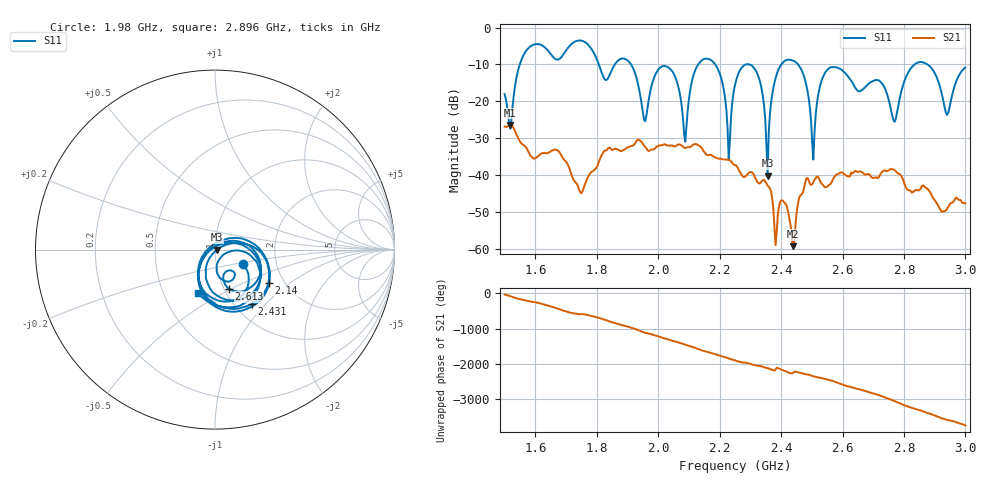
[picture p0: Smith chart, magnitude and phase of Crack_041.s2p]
# HZ S RI R 50
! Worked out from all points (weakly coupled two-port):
!   404 points, 1.5 GHz to 3 GHz, reference 50 ohm
!   highest |S21| = -26.37 dB at 1.519 GHz (marker M1); lowest = -59.2 dB at 2.438 GHz (marker M2)
!   lowest |S11| = -40.1 dB at 2.356 GHz (marker M3), VSWR 1.02, Z = 51 - j0.13 ohm
!   |S11| at or under -10 dB: 1.912 GHz to 2.131 GHz (219 MHz wide, 10.8 % of centre); 2.455 GHz to 2.835 GHz (379.2 MHz wide, 14.3 % of centre); 2.876 GHz to end of sweep (the widest 3 of 7)
!   S12 and S22 are empty: the file has one direction only
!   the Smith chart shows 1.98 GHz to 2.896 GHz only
!   S11 on the Smith chart (normalised r, x): 1.98 GHz: 1.35, -0.22; 2.14 GHz: 1.67, -0.71; 2.431 GHz: 1.19, -0.84; 2.613 GHz: 1.05, -0.48; 2.896 GHz: 0.74, -0.39
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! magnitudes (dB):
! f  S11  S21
! 1.5 GHz  -18.0  -26.8
! 1.519 GHz  -27.3  -26.4
! 1.578 GHz  -5.5  -33.8
! 1.753 GHz  -3.6  -44.4
! 1.954 GHz  -25.1  -32.0
! 1.98 GHz  -15.2  -33.0
! 2.002 GHz  -11.2  -31.9
! 2.088 GHz  -30.9  -32.5
! 2.14 GHz  -9.0  -32.4
! 2.23 GHz  -35.6  -35.9
! 2.252 GHz  -14.9  -37.3
! 2.315 GHz  -11.3  -40.6
! 2.356 GHz  -40.1  -42.8
! 2.431 GHz  -8.7  -53.3
! 2.438 GHz  -8.9  -59.2
! 2.501 GHz  -31.0  -42.4
! 2.542 GHz  -12.4  -43.2
! 2.613 GHz  -12.7  -40.1
! 2.751 GHz  -19.6  -38.6
! 2.896 GHz  -11.7  -46.3
! 2.94 GHz  -23.6  -49.1
! 3 GHz  -10.8  -47.6
